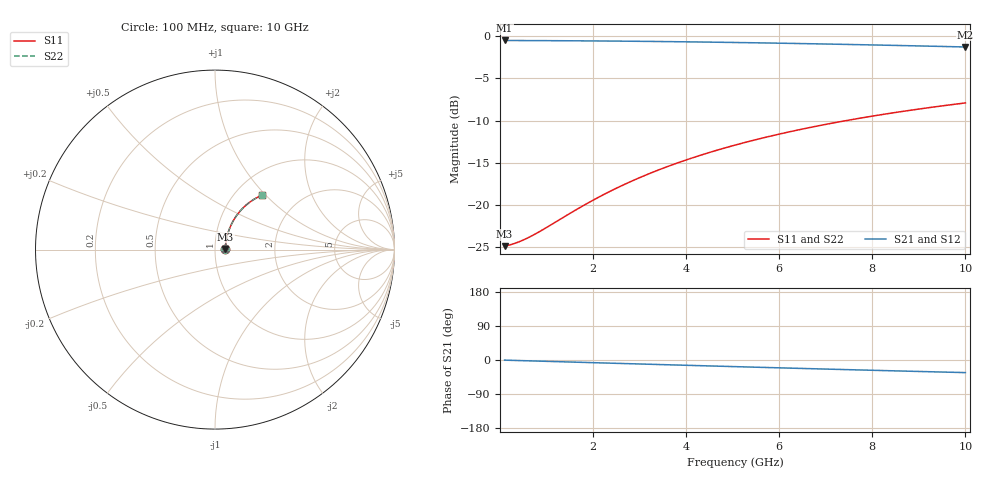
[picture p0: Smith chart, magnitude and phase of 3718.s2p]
# Hz S RI R 50.00
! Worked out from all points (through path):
!   100 points, 100 MHz to 10 GHz, reference 50 ohm
!   highest |S21| = -0.51 dB at 100 MHz (marker M1); lowest = -1.3 dB at 10 GHz (marker M2)
!   group delay of S21, straight-line fit = 9.27 ps
!   lowest |S11| = -24.9 dB at 100 MHz (marker M3), VSWR 1.12, Z = 56 + j0.464 ohm
!   |S11| at or under -10 dB: start of sweep to 7.445 GHz
!   |S22| runs from -24.9 to -7.9 dB; largest |S21 - S12| = 0
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1e8  0.0568 0.00413  0.9432 -0.00581  0.9432 -0.00581  0.0568 0.00413
3e8  0.0576 0.0124  0.9424 -0.0174  0.9424 -0.0174  0.0576 0.0124
4e8  0.058 0.0165  0.942 -0.0232  0.942 -0.0232  0.058 0.0165
5e8  0.0584 0.0206  0.9415 -0.029  0.9415 -0.029  0.0584 0.0206
7e8  0.0593 0.0288  0.9406 -0.0405  0.9406 -0.0405  0.0593 0.0288
9e8  0.0604 0.0369  0.9395 -0.052  0.9395 -0.052  0.0604 0.0369
1.8e9  0.0673 0.0732  0.9323 -0.1034  0.9323 -0.1034  0.0673 0.0732
2.2e9  0.0715 0.0889  0.9278 -0.1259  0.9278 -0.1259  0.0715 0.0889
2.6e9  0.0764 0.1044  0.9225 -0.1481  0.9225 -0.1481  0.0764 0.1044
3e9  0.0821 0.1196  0.9166 -0.17  0.9166 -0.17  0.0821 0.1196
3.4e9  0.0884 0.1344  0.9098 -0.1915  0.9098 -0.1915  0.0884 0.1344
3.8e9  0.0954 0.1488  0.9024 -0.2127  0.9024 -0.2127  0.0954 0.1488
4.2e9  0.1031 0.1627  0.8943 -0.2334  0.8943 -0.2334  0.1031 0.1627
4.6e9  0.1113 0.1763  0.8855 -0.2537  0.8855 -0.2537  0.1113 0.1763
5.1e9  0.1224 0.1925  0.8737 -0.2783  0.8737 -0.2783  0.1224 0.1925
5.5e9  0.1319 0.2049  0.8636 -0.2975  0.8636 -0.2975  0.1319 0.2049
5.9e9  0.1419 0.2167  0.853 -0.3161  0.853 -0.3161  0.1419 0.2167
6.7e9  0.1631 0.2386  0.8302 -0.3517  0.8302 -0.3517  0.1631 0.2386
7.5e9  0.1859 0.2582  0.8057 -0.385  0.8057 -0.385  0.1859 0.2582
8.4e9  0.213 0.2774  0.7765 -0.4195  0.7765 -0.4195  0.213 0.2774
9.2e9  0.238 0.2917  0.7493 -0.4477  0.7493 -0.4477  0.238 0.2917
1e10  0.2636 0.3036  0.7214 -0.4734  0.7214 -0.4734  0.2636 0.3036
